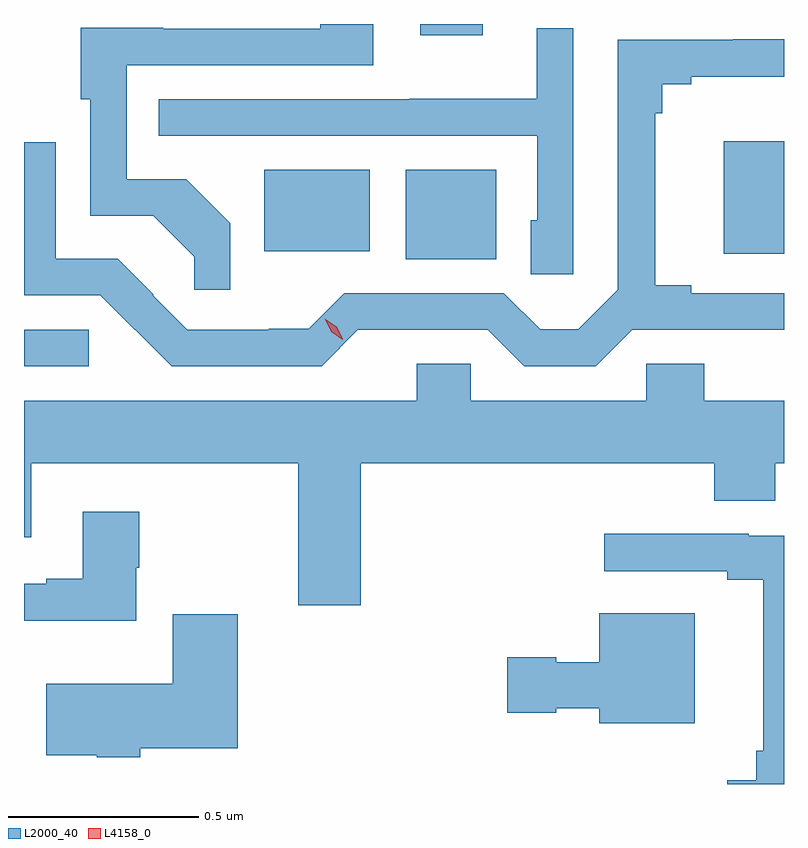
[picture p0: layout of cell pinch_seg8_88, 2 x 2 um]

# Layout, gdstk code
import gdstk
lib = gdstk.Library(unit=1e-6, precision=1e-09)
def R(c, l, rs):  # rectangles x0, y0, x1, y1
    for r in rs: c.add(gdstk.rectangle(r[:2], r[2:], *l))
def P(c, l, *ps):  # polygons
    for p in ps: c.add(gdstk.Polygon(p, *l))
L2000_40 = (2000, 40)
L4158_0 = (4158, 0)

pinch_seg8_88 = lib.new_cell('pinch_seg8_88')
R(pinch_seg8_88, L2000_40, [(1111.338,1108.764,1111.509,1108.86), (1112.342,1109.045,1112.581,1109.281), (1113.179,1109.06,1113.338,1109.356), (1111.97,1109.066,1112.248,1109.281), (1112.381,1109.634,1112.545,1109.664)])
P(pinch_seg8_88, L2000_40, [(1111.881,1109.14),(1111.765,1109.256),(1111.608,1109.256),(1111.608,1109.556),(1112.257,1109.556),(1112.257,1109.664),(1112.117,1109.664),(1112.117,1109.652),(1111.705,1109.652),(1111.705,1109.654),(1111.487,1109.654),(1111.487,1109.466),(1111.512,1109.466),(1111.512,1109.16),(1111.678,1109.16),(1111.786,1109.052),(1111.786,1108.965),(1111.881,1108.965)],
  [(1112.784,1109.653),(1112.687,1109.653),(1112.687,1109.467),(1112.353,1109.467),(1112.353,1109.466),(1111.693,1109.466),(1111.693,1109.37),(1112.688,1109.37),(1112.688,1109.148),(1112.672,1109.148),(1112.672,1109.005),(1112.784,1109.005)],
  [(1112.216,1108.859),(1112.32,1108.859),(1112.32,1108.86),(1112.559,1108.86),(1112.655,1108.764),(1112.842,1108.764),(1112.938,1108.86),(1113.171,1108.86),(1113.171,1108.859),(1113.338,1108.859),(1113.338,1108.956),(1113.094,1108.956),(1113.094,1108.976),(1112.999,1108.976),(1112.999,1109.429),(1113.017,1109.429),(1113.017,1109.506),(1113.094,1109.506),(1113.094,1109.525),(1113.338,1109.525),(1113.338,1109.624),(1113.205,1109.624),(1113.205,1109.622),(1112.901,1109.622),(1112.901,1108.965),(1112.797,1108.861),(1112.696,1108.861),(1112.601,1108.956),(1112.181,1108.956),(1112.087,1108.862),(1111.982,1108.862),(1111.982,1108.86),(1111.767,1108.86),(1111.677,1108.95),(1111.679,1108.952),(1111.585,1109.046),(1111.422,1109.046),(1111.422,1109.353),(1111.338,1109.353),(1111.338,1108.95),(1111.539,1108.95),(1111.63,1108.859),(1111.631,1108.86),(1111.727,1108.764),(1112.121,1108.764)],
  [(1112.224,1108.508),(1113.155,1108.508),(1113.155,1108.41),(1113.315,1108.41),(1113.315,1108.508),(1113.338,1108.508),(1113.338,1108.672),(1113.128,1108.672),(1113.128,1108.77),(1112.976,1108.77),(1112.976,1108.672),(1112.514,1108.672),(1112.514,1108.77),(1112.372,1108.77),(1112.372,1108.672),(1111.338,1108.672),(1111.338,1108.314),(1111.357,1108.314),(1111.357,1108.508),(1112.06,1108.508),(1112.06,1108.134),(1112.224,1108.134)],
  [(1111.633,1108.233),(1111.641,1108.233),(1111.641,1108.381),(1111.493,1108.381),(1111.493,1108.204),(1111.397,1108.204),(1111.397,1108.191),(1111.338,1108.191),(1111.338,1108.094),(1111.633,1108.094)],
  [(1113.338,1108.317),(1113.245,1108.317),(1113.245,1108.322),(1112.865,1108.322),(1112.865,1108.224),(1113.188,1108.224),(1113.188,1108.202),(1113.284,1108.202),(1113.284,1107.751),(1113.265,1107.751),(1113.265,1107.674),(1113.188,1107.674),(1113.188,1107.664),(1113.338,1107.664)],
  [(1113.103,1108.114),(1112.852,1108.114),(1112.852,1107.985),(1112.739,1107.985),(1112.739,1107.998),(1112.61,1107.998),(1112.61,1107.851),(1112.739,1107.851),(1112.739,1107.863),(1112.852,1107.863),(1112.852,1107.824),(1113.103,1107.824)],
  [(1111.644,1107.758),(1111.901,1107.758),(1111.901,1108.111),(1111.73,1108.111),(1111.73,1107.928),(1111.397,1107.928),(1111.397,1107.74),(1111.53,1107.74),(1111.53,1107.734),(1111.644,1107.734)])
P(pinch_seg8_88, L4158_0, [(1112.177,1108.833),(1112.146,1108.854),(1112.129,1108.888),(1112.129,1108.888),(1112.13,1108.888),(1112.161,1108.867),(1112.177,1108.834),(1112.177,1108.833)])

lib.write_gds('pinch_seg8_88.gds')
